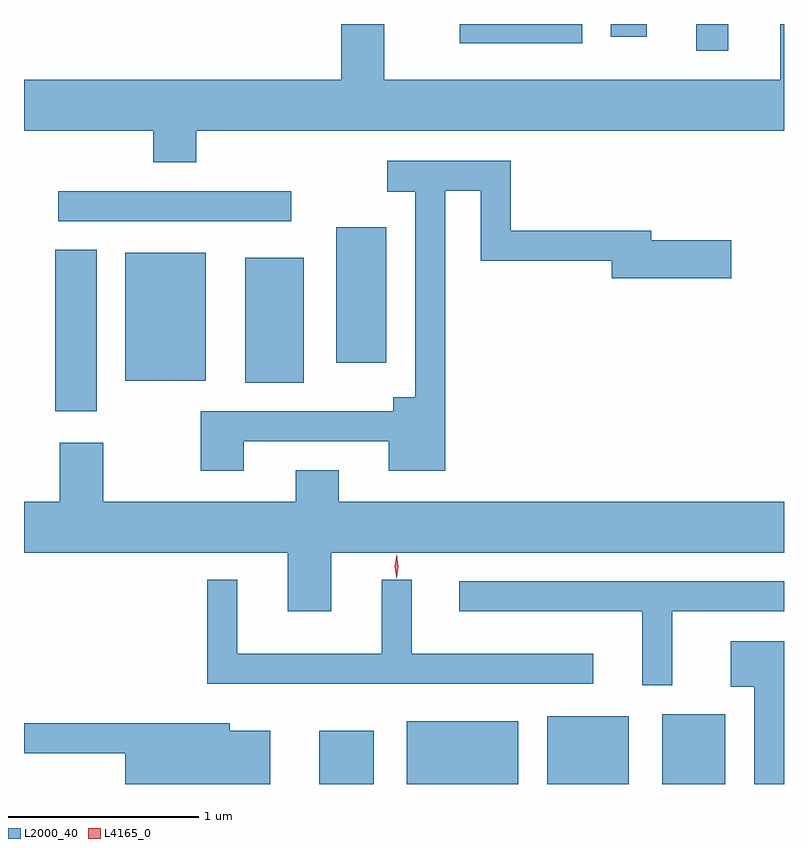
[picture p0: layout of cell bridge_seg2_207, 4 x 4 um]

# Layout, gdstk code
import gdstk
lib = gdstk.Library(unit=1e-6, precision=1e-09)
def R(c, l, rs):  # rectangles x0, y0, x1, y1
    for r in rs: c.add(gdstk.rectangle(r[:2], r[2:], *l))
def P(c, l, *ps):  # polygons
    for p in ps: c.add(gdstk.Polygon(p, *l))
L2000_40 = (2000, 40)
L4165_0 = (4165, 0)

bridge_seg2_207 = lib.new_cell('bridge_seg2_207')
R(bridge_seg2_207, L2000_40, [(970.006,1020.458,970.294,1020.739), (970.466,1020.458,971.054,1020.789), (971.206,1020.458,971.634,1020.814), (971.811,1020.458,972.144,1020.824), (968.616,1022.421,968.834,1023.269), (969.616,1022.571,969.924,1023.229), (968.986,1022.581,969.409,1023.254), (970.096,1022.676,970.359,1023.389), (968.633,1023.421,969.858,1023.579), (971.991,1024.318,972.159,1024.458), (970.746,1024.356,971.389,1024.458), (971.541,1024.391,971.729,1024.458)])
P(bridge_seg2_207, L2000_40, [(969.359,1023.896),(972.452,1023.896),(972.452,1024.458),(972.431,1024.458),(972.431,1024.164),(970.349,1024.164),(970.349,1024.458),(970.121,1024.458),(970.121,1024.164),(968.452,1024.164),(968.452,1023.896),(969.131,1023.896),(969.131,1023.731),(969.359,1023.731)],
  [(969.609,1022.261),(970.371,1022.261),(970.371,1022.106),(970.669,1022.106),(970.669,1023.581),(970.856,1023.581),(970.856,1023.211),(971.546,1023.211),(971.546,1023.121),(972.174,1023.121),(972.174,1023.319),(971.754,1023.319),(971.754,1023.369),(971.014,1023.369),(971.014,1023.739),(970.363,1023.739),(970.363,1023.576),(970.511,1023.576),(970.511,1022.494),(970.396,1022.494),(970.396,1022.419),(969.381,1022.419),(969.381,1022.106),(969.609,1022.106)],
  [(970.069,1021.676),(972.452,1021.676),(972.452,1021.944),(970.109,1021.944),(970.109,1022.109),(969.881,1022.109),(969.881,1021.944),(968.869,1021.944),(968.869,1022.254),(968.641,1022.254),(968.641,1021.944),(968.452,1021.944),(968.452,1021.676),(969.841,1021.676),(969.841,1021.366),(970.069,1021.366)],
  [(971.448,1021.144),(970.494,1021.144),(970.494,1021.533),(970.336,1021.533),(970.336,1021.144),(969.574,1021.144),(969.574,1021.533),(969.416,1021.533),(969.416,1020.986),(971.448,1020.986)],
  [(971.864,1021.366),(972.452,1021.366),(972.452,1021.524),(970.743,1021.524),(970.743,1021.366),(971.706,1021.366),(971.706,1020.978),(971.864,1020.978)],
  [(972.452,1021.209),(972.171,1021.209),(972.171,1020.971),(972.296,1020.971),(972.296,1020.458),(972.452,1020.458)],
  [(969.749,1020.739),(969.534,1020.739),(969.534,1020.779),(968.452,1020.779),(968.452,1020.621),(968.986,1020.621),(968.986,1020.458),(969.749,1020.458)])
P(bridge_seg2_207, L4165_0, [(970.413,1021.538),(970.413,1021.538),(970.403,1021.603),(970.413,1021.667),(970.413,1021.668),(970.414,1021.667),(970.423,1021.603),(970.414,1021.538)])

lib.write_gds('bridge_seg2_207.gds')
